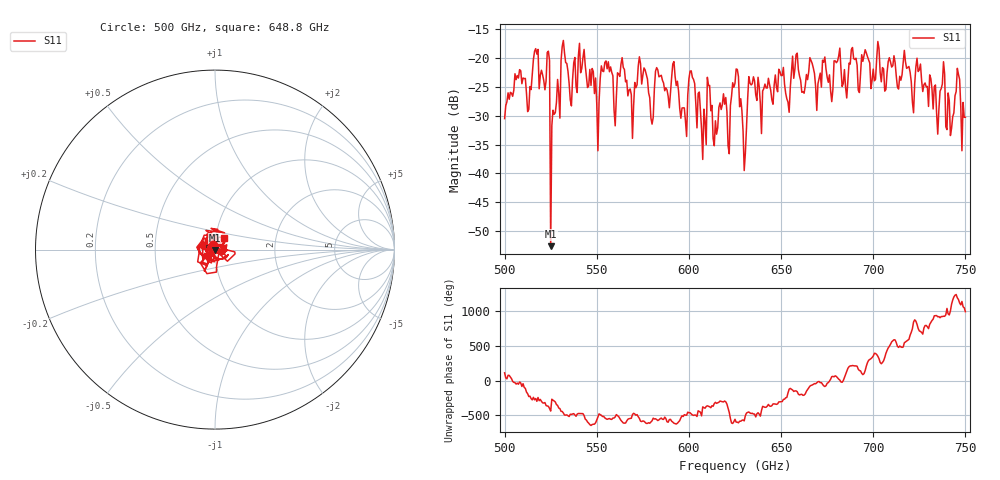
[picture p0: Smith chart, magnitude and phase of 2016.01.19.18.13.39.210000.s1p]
!Created with skrf (http://scikit-rf.org).
# GHz S RI R 50.0
!freq ReS11 ImS11
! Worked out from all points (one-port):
!   401 points, 500 GHz to 750 GHz, reference 50 ohm
!   lowest |S11| = -52.6 dB at 525 GHz (marker M1), VSWR 1.00, Z = 50 - j0.232 ohm
!   |S11| at or under -10 dB: start of sweep to end of sweep
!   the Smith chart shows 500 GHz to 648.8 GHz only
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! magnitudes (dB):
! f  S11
! 500 GHz  -30.5
! 506.9 GHz  -23.1
! 513.1 GHz  -28.9
! 516.9 GHz  -18.4
! 523.1 GHz  -19.1
! 525 GHz  -52.6
! 526.2 GHz  -29.1
! 531.2 GHz  -18.0
! 541.9 GHz  -21.9
! 550 GHz  -27.9
! 562.5 GHz  -23.2
! 568.8 GHz  -26.4
! 573.8 GHz  -21.0
! 579.4 GHz  -30.4
! 583.1 GHz  -22.1
! 593.8 GHz  -24.0
! 597.5 GHz  -28.7
! 601.9 GHz  -23.4
! 608.1 GHz  -28.9
! 611.2 GHz  -24.8
! 614.4 GHz  -30.9
! 625 GHz  -24.4
! 630 GHz  -39.5
! 633.8 GHz  -24.7
! 656.2 GHz  -19.7
! 687.5 GHz  -21.1
! 718.8 GHz  -21.7
! 750 GHz  -30.3
